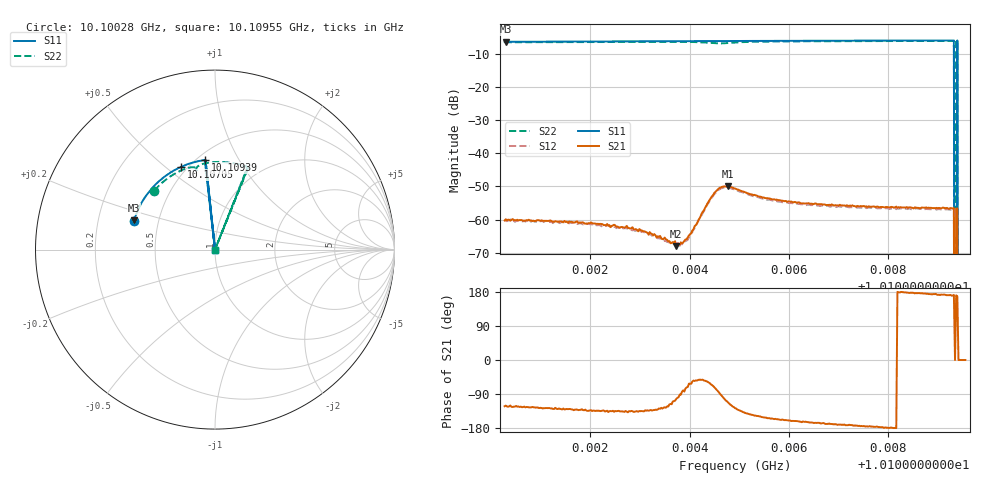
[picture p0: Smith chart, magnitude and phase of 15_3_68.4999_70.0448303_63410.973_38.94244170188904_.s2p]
#  HZ  S  RI  R  50.00
! Rohde & Schwarz Vector Network Analyzer
! Rohde-Schwarz,ZNB20-2Port,1311601062101988,3.16
! Created: UTC 3/20/2024, 5:04:21 PM
! freq[Hz]  re:S11  im:S11  re:S21  im:S21  re:S12  im:S12  re:S22  im:S22
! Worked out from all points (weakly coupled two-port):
!   401 points, 10.10028 GHz to 10.10955 GHz, reference 50 ohm
!   highest |S21| = -49.97 dB at 10.10478 GHz (marker M1); lowest = -67.9 dB at 10.10373 GHz (marker M2)
!   lowest |S11| = -6.4 dB at 10.1003 GHz (marker M3), VSWR 2.84, Z = 18.1 + j7.66 ohm
!   |S11| at or under -10 dB: 10.10932 GHz to 10.10939 GHz (68.57 kHz wide, 0.000678 % of centre); 10.10939 GHz to end of sweep
!   |S22| runs from - to -6.1 dB; largest |S21 - S12| = 0.00035
!   S11 on the Smith chart (normalised r, x): 10.10028 GHz: 0.36, +0.15; 10.10705 GHz: 0.46, +0.57; 10.10939 GHz: 0.55, +0.74; 10.10955 GHz: 1.00, +0.00
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1.0100279e10  -0.4513 0.1617  -0.000517 -0.000824  -0.000448 -0.000856  -0.3385 0.3289
1.0100303e10  -0.4506 0.1632  -0.000515 -0.000872  -0.000425 -0.000865  -0.3373 0.3301
1.0101832e10  -0.4154 0.2494  -0.00058 -0.000694  -0.000512 -0.0007  -0.2645 0.3967
1.0102783e10  -0.3853 0.2986  -0.000524 -0.000528  -0.000456 -0.000519  -0.2117 0.4299
1.0103385e10  -0.3631 0.3277  -0.000338 -0.000434  -0.000285 -0.000443  -0.1747 0.4471
1.0103733e10  -0.3495 0.3438  -8.85e-05 -0.000391  -8.56e-05 -0.000415  -0.1513 0.455
1.0103988e10  -0.3389 0.3552  0.000266 -0.000511  0.000267 -0.000467  -0.1325 0.4586
1.0104544e10  -0.3147 0.3784  0.000535 -0.00268  0.000742 -0.00254  -0.0994 0.4434
1.0104776e10  -0.3043 0.3877  -0.00119 -0.00294  -0.000927 -0.00289  -0.1052 0.4479
1.0104915e10  -0.298 0.3931  -0.00177 -0.00236  -0.00148 -0.00243  -0.1017 0.4572
1.0106468e10  -0.22 0.4458  -0.00168 -0.000448  -0.00157 -0.00056  0.00147 0.4882
1.0107047e10  -0.1887 0.4613  -0.00162 -0.000269  -0.00151 -0.000402  0.0392 0.4882
1.010802e10  -0.1337 0.482  -0.00153 -2.05e-05  -0.00144 -0.000174  0.1016 0.4816
1.0109272e10  -0.0599 0.4989  -0.00146 0.000265  -0.00143 6.53e-05  0.1788 0.4611
1.0109295e10  -0.0584 0.499  -0.00144 0.000256  -0.00142 7.03e-05  0.1803 0.4607
1.0109318e10  -0.0571 0.4992  -0.00149 0.000214  -0.00142 8.05e-05  0.1814 0.4601
1.0109341e10  0 0  0 0  0 0  0 0
1.0109388e10  -0.053 0.4997  -0.00144 0.000297  -0.00143 0.000113  0.1857 0.4585
1.0109411e10  0 0  0 0  0 0  0 0
1.0109434e10  0 0  0 0  0 0  0 0
1.0109457e10  0 0  0 0  0 0  0 0
1.010955e10  0 0  0 0  0 0  0 0
